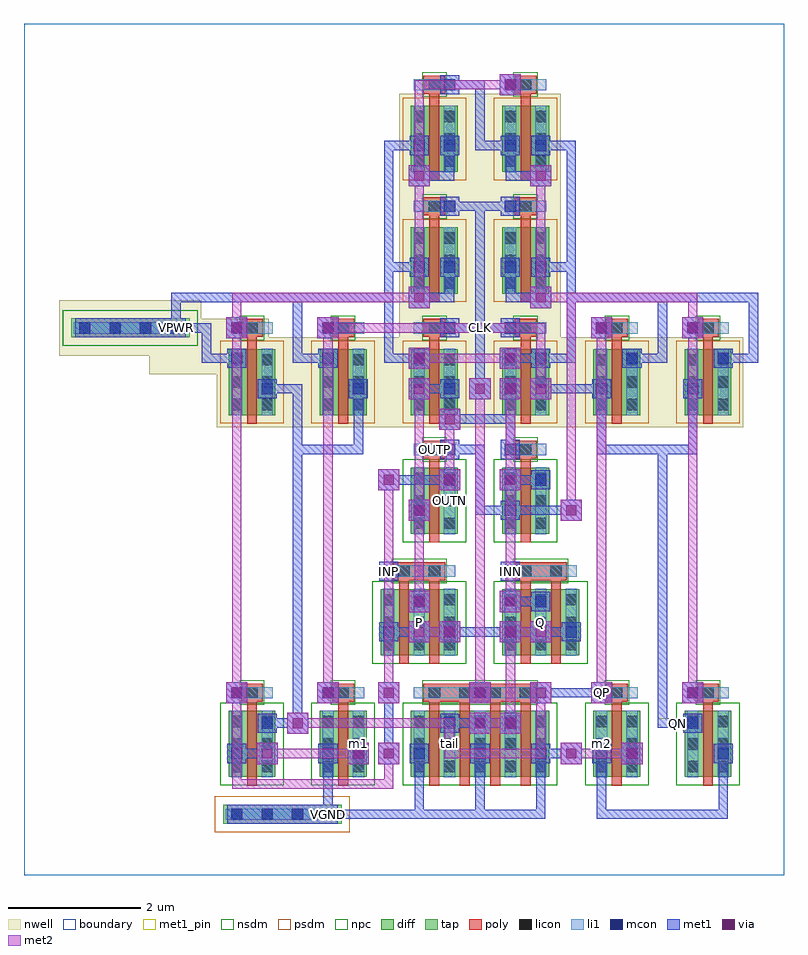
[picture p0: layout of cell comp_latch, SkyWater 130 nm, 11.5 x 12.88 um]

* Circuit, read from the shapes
.subckt comp_latch CLK INN INP OUTN OUTP P Q QN QP VGND VPWR m1 m2 tail
XM1 QP OUTN m1 VGND sky130_fd_pr__nfet_01v8 w=1 l=0.15
XM2 m1 QN VGND VGND sky130_fd_pr__nfet_01v8 w=1 l=0.15
XM3 P INP tail VGND sky130_fd_pr__nfet_01v8 w=1 l=0.15 m=2
XM4 tail CLK VGND VGND sky130_fd_pr__nfet_01v8 w=1 l=0.15 m=4
XM5 OUTN OUTP P VGND sky130_fd_pr__nfet_01v8 w=1 l=0.15
XM6 Q INN tail VGND sky130_fd_pr__nfet_01v8 w=1 l=0.15 m=2
XM7 Q OUTN OUTP VGND sky130_fd_pr__nfet_01v8 w=1 l=0.15
XM8 VGND QP m2 VGND sky130_fd_pr__nfet_01v8 w=1 l=0.15
XM9 m2 OUTP QN VGND sky130_fd_pr__nfet_01v8 w=1 l=0.15
XM10 QP OUTN VPWR VPWR sky130_fd_pr__pfet_01v8 w=1 l=0.15
XM11 QP QN VPWR VPWR sky130_fd_pr__pfet_01v8 w=1 l=0.15
XM12 P CLK VPWR VPWR sky130_fd_pr__pfet_01v8 w=1 l=0.15
XM13 OUTN CLK VPWR VPWR sky130_fd_pr__pfet_01v8 w=1 l=0.15
XM14 OUTN OUTP VPWR VPWR sky130_fd_pr__pfet_01v8 w=1 l=0.15
XM15 VPWR CLK Q VPWR sky130_fd_pr__pfet_01v8 w=1 l=0.15
XM16 VPWR CLK OUTP VPWR sky130_fd_pr__pfet_01v8 w=1 l=0.15
XM17 VPWR OUTN OUTP VPWR sky130_fd_pr__pfet_01v8 w=1 l=0.15
XM18 VPWR QP QN VPWR sky130_fd_pr__pfet_01v8 w=1 l=0.15
XM19 VPWR OUTP QN VPWR sky130_fd_pr__pfet_01v8 w=1 l=0.15
.ends

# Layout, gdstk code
import gdstk
lib = gdstk.Library(unit=1e-6, precision=1e-09)
def R(c, l, rs):  # rectangles x0, y0, x1, y1
    for r in rs: c.add(gdstk.rectangle(r[:2], r[2:], *l))
def A(c, l, x, y, w, h, nx, ny, dx, dy):  # array of equal rectangles
    R(c, l, [(x+i*dx, y+j*dy, x+i*dx+w, y+j*dy+h) for i in range(nx) for j in range(ny)])
nwell = (64, 20)
diff = (65, 20)
tap = (65, 44)
poly = (66, 20)
licon = (66, 44)
li1 = (67, 20)
mcon = (67, 44)
met1_pin = (68, 16)
met1 = (68, 20)
via = (68, 44)
met2 = (69, 20)
nsdm = (93, 44)
psdm = (94, 20)
npc = (95, 20)
boundary = (235, 4)

comp_latch = lib.new_cell('comp_latch')
R(comp_latch, nwell, [(2.915,6.78,10.885,7.58), (1.893,7.58,10.885,7.86), (0.535,7.86,10.885,8.14), (0.535,8.14,3.707,8.42), (5.675,8.14,8.125,11.82), (0.535,8.42,2.685,8.7)])
A(comp_latch, diff, 3.095, 6.96, 0.71, 1, 6, 1, 1.38, 0)
R(comp_latch, diff, [(3.095,1.485,3.805,2.485), (4.475,1.485,5.185,2.485), (5.855,1.485,7.945,2.485), (8.615,1.485,9.325,2.485), (9.995,1.485,10.705,2.485), (5.395,3.325,6.565,4.325), (7.235,3.325,8.405,4.325), (5.855,5.165,6.565,6.165), (7.235,5.165,7.945,6.165), (5.855,8.8,6.565,9.8), (7.235,8.8,7.945,9.8), (5.855,10.64,6.565,11.64), (7.235,10.64,7.945,11.64)])
R(comp_latch, tap, [(3.015,0.775,4.805,1.065), (0.715,8.135,2.505,8.425)])
A(comp_latch, poly, 3.375, 1.355, 0.15, 1.405, 3, 1, 1.38, 0)
A(comp_latch, poly, 6.595, 1.355, 0.15, 1.405, 3, 1, 0.46, 0)
A(comp_latch, poly, 3.375, 6.83, 0.15, 1.45, 6, 1, 1.38, 0)
A(comp_latch, poly, 3.285, 8.145, 0.33, 0.27, 6, 1, 1.38, 0)
R(comp_latch, poly, [(8.895,1.355,9.045,2.76), (10.275,1.355,10.425,2.76), (3.285,2.625,3.615,2.895), (4.665,2.625,4.995,2.895), (6.045,2.625,7.755,2.895), (8.805,2.625,9.135,2.895), (10.185,2.625,10.515,2.895), (5.675,3.195,5.825,4.6), (6.135,3.195,6.285,4.6), (7.515,3.195,7.665,4.6), (7.975,3.195,8.125,4.6), (5.585,4.465,6.375,4.735), (7.425,4.465,8.215,4.735), (6.135,5.035,6.285,6.44), (7.515,5.035,7.665,6.44), (6.045,6.305,6.375,6.575), (7.425,6.305,7.755,6.575), (6.135,8.67,6.285,10.12), (7.515,8.67,7.665,10.12), (6.045,9.985,6.375,10.255), (7.425,9.985,7.755,10.255), (6.135,10.51,6.285,11.96), (7.515,10.51,7.665,11.96), (6.045,11.825,6.375,12.095), (7.425,11.825,7.755,12.095)])
A(comp_latch, licon, 3.135, 0.835, 0.17, 0.17, 4, 1, 0.46, 0)
A(comp_latch, licon, 3.135, 1.56, 0.17, 0.17, 1, 3, 0, 0.34)
A(comp_latch, licon, 3.595, 1.56, 0.17, 0.17, 1, 3, 0, 0.34)
A(comp_latch, licon, 4.515, 1.56, 0.17, 0.17, 1, 3, 0, 0.34)
A(comp_latch, licon, 4.975, 1.56, 0.17, 0.17, 1, 3, 0, 0.34)
A(comp_latch, licon, 5.895, 1.56, 0.17, 0.17, 5, 3, 0.46, 0.34)
A(comp_latch, licon, 8.655, 1.56, 0.17, 0.17, 1, 3, 0, 0.34)
A(comp_latch, licon, 9.115, 1.56, 0.17, 0.17, 1, 3, 0, 0.34)
A(comp_latch, licon, 10.035, 1.56, 0.17, 0.17, 1, 3, 0, 0.34)
A(comp_latch, licon, 10.495, 1.56, 0.17, 0.17, 1, 3, 0, 0.34)
A(comp_latch, licon, 3.365, 2.675, 0.17, 0.17, 3, 1, 1.38, 0)
A(comp_latch, licon, 6.585, 2.675, 0.17, 0.17, 3, 1, 0.46, 0)
A(comp_latch, licon, 5.435, 3.4, 0.17, 0.17, 3, 3, 0.46, 0.34)
A(comp_latch, licon, 7.275, 3.4, 0.17, 0.17, 3, 3, 0.46, 0.34)
A(comp_latch, licon, 5.895, 5.24, 0.17, 0.17, 1, 3, 0, 0.34)
A(comp_latch, licon, 6.355, 5.24, 0.17, 0.17, 1, 3, 0, 0.34)
A(comp_latch, licon, 7.275, 5.24, 0.17, 0.17, 1, 3, 0, 0.34)
A(comp_latch, licon, 7.735, 5.24, 0.17, 0.17, 1, 3, 0, 0.34)
A(comp_latch, licon, 3.135, 7.035, 0.17, 0.17, 1, 3, 0, 0.34)
A(comp_latch, licon, 3.595, 7.035, 0.17, 0.17, 1, 3, 0, 0.34)
A(comp_latch, licon, 4.515, 7.035, 0.17, 0.17, 1, 3, 0, 0.34)
A(comp_latch, licon, 4.975, 7.035, 0.17, 0.17, 1, 3, 0, 0.34)
A(comp_latch, licon, 5.895, 7.035, 0.17, 0.17, 1, 3, 0, 0.34)
A(comp_latch, licon, 6.355, 7.035, 0.17, 0.17, 1, 3, 0, 0.34)
A(comp_latch, licon, 7.275, 7.035, 0.17, 0.17, 1, 3, 0, 0.34)
A(comp_latch, licon, 7.735, 7.035, 0.17, 0.17, 1, 3, 0, 0.34)
A(comp_latch, licon, 8.655, 7.035, 0.17, 0.17, 1, 3, 0, 0.34)
A(comp_latch, licon, 9.115, 7.035, 0.17, 0.17, 1, 3, 0, 0.34)
A(comp_latch, licon, 10.035, 7.035, 0.17, 0.17, 1, 3, 0, 0.34)
A(comp_latch, licon, 10.495, 7.035, 0.17, 0.17, 1, 3, 0, 0.34)
A(comp_latch, licon, 0.835, 8.195, 0.17, 0.17, 4, 1, 0.46, 0)
A(comp_latch, licon, 3.365, 8.195, 0.17, 0.17, 6, 1, 1.38, 0)
A(comp_latch, licon, 5.895, 8.875, 0.17, 0.17, 1, 3, 0, 0.34)
A(comp_latch, licon, 6.355, 8.875, 0.17, 0.17, 1, 3, 0, 0.34)
A(comp_latch, licon, 7.275, 8.875, 0.17, 0.17, 1, 3, 0, 0.34)
A(comp_latch, licon, 7.735, 8.875, 0.17, 0.17, 1, 3, 0, 0.34)
A(comp_latch, licon, 5.895, 10.715, 0.17, 0.17, 1, 3, 0, 0.34)
A(comp_latch, licon, 6.355, 10.715, 0.17, 0.17, 1, 3, 0, 0.34)
A(comp_latch, licon, 7.275, 10.715, 0.17, 0.17, 1, 3, 0, 0.34)
A(comp_latch, licon, 7.735, 10.715, 0.17, 0.17, 1, 3, 0, 0.34)
R(comp_latch, licon, [(8.885,2.675,9.055,2.845), (10.265,2.675,10.435,2.845), (5.665,4.515,5.835,4.685), (6.125,4.515,6.295,4.685), (7.505,4.515,7.675,4.685), (7.965,4.515,8.135,4.685), (6.125,6.355,6.295,6.525), (7.505,6.355,7.675,6.525), (6.125,10.035,6.295,10.205), (7.505,10.035,7.675,10.205), (6.125,11.875,6.295,12.045), (7.505,11.875,7.675,12.045)])
A(comp_latch, li1, 5.895, 1.48, 0.17, 1.01, 5, 1, 0.46, 0)
A(comp_latch, li1, 5.435, 3.32, 0.17, 1.01, 3, 1, 0.46, 0)
A(comp_latch, li1, 7.275, 3.32, 0.17, 1.01, 3, 1, 0.46, 0)
A(comp_latch, li1, 5.895, 6.955, 0.17, 1.01, 1, 3, 0, 1.84)
A(comp_latch, li1, 6.355, 6.955, 0.17, 1.01, 1, 3, 0, 1.84)
A(comp_latch, li1, 7.275, 6.955, 0.17, 1.01, 1, 3, 0, 1.84)
A(comp_latch, li1, 7.735, 6.955, 0.17, 1.01, 1, 3, 0, 1.84)
A(comp_latch, li1, 3.135, 8.195, 0.63, 0.17, 6, 1, 1.38, 0)
R(comp_latch, li1, [(3.055,0.835,4.765,1.005), (3.135,1.48,3.305,2.49), (3.595,1.48,3.765,2.49), (4.515,1.48,4.685,2.49), (4.975,1.48,5.145,2.49), (8.655,1.48,8.825,2.49), (9.115,1.48,9.285,2.49), (10.035,1.48,10.205,2.49), (10.495,1.48,10.665,2.49), (3.135,2.675,3.765,2.845), (4.515,2.675,5.145,2.845), (5.895,2.675,7.905,2.845), (8.655,2.675,9.285,2.845), (10.035,2.675,10.665,2.845), (5.435,4.515,6.525,4.685), (7.275,4.515,8.365,4.685), (5.895,5.16,6.065,6.17), (6.355,5.16,6.525,6.17), (7.275,5.16,7.445,6.17), (7.735,5.16,7.905,6.17), (5.895,6.355,6.525,6.525), (7.275,6.355,7.905,6.525), (3.135,6.955,3.305,7.965), (3.595,6.955,3.765,7.965), (4.515,6.955,4.685,7.965), (4.975,6.955,5.145,7.965), (8.655,6.955,8.825,7.965), (9.115,6.955,9.285,7.965), (10.035,6.955,10.205,7.965), (10.495,6.955,10.665,7.965), (0.755,8.195,2.465,8.365), (5.895,10.035,6.525,10.205), (7.275,10.035,7.905,10.205), (5.895,11.875,6.525,12.045), (7.275,11.875,7.905,12.045)])
A(comp_latch, mcon, 3.135, 0.835, 0.17, 0.17, 4, 1, 0.46, 0)
A(comp_latch, mcon, 4.975, 1.755, 0.17, 0.17, 5, 1, 0.92, 0)
A(comp_latch, mcon, 5.435, 3.595, 0.17, 0.17, 4, 1, 0.92, 0)
A(comp_latch, mcon, 7.275, 4.515, 0.17, 0.17, 1, 3, 0, 0.92)
A(comp_latch, mcon, 3.595, 7.275, 0.17, 0.17, 3, 1, 1.38, 0)
A(comp_latch, mcon, 7.275, 7.275, 0.17, 0.17, 3, 2, 1.38, 0.92)
A(comp_latch, mcon, 3.135, 7.735, 0.17, 0.17, 3, 1, 1.38, 0)
A(comp_latch, mcon, 7.735, 7.735, 0.17, 0.17, 3, 1, 1.38, 0)
A(comp_latch, mcon, 0.835, 8.195, 0.17, 0.17, 4, 1, 0.46, 0)
A(comp_latch, mcon, 6.355, 8.195, 0.17, 0.17, 1, 5, 0, 0.92)
A(comp_latch, mcon, 7.275, 9.115, 0.17, 0.17, 1, 4, 0, 0.92)
R(comp_latch, mcon, [(3.135,1.755,3.305,1.925), (4.515,1.755,4.685,1.925), (9.115,1.755,9.285,1.925), (10.495,1.755,10.665,1.925), (3.595,2.215,3.765,2.385), (6.355,2.215,6.525,2.385), (7.275,2.215,7.445,2.385), (10.035,2.215,10.205,2.385), (3.135,2.675,3.305,2.845), (4.515,2.675,4.685,2.845), (6.815,2.675,6.985,2.845), (8.655,2.675,8.825,2.845), (10.035,2.675,10.205,2.845), (5.895,4.055,6.065,4.225), (7.735,4.055,7.905,4.225), (5.435,4.515,5.605,4.685), (5.895,5.435,6.065,5.605), (6.355,5.895,6.525,6.065), (7.735,5.895,7.905,6.065), (6.355,6.355,6.525,6.525), (3.135,8.195,3.305,8.365), (4.515,8.195,4.685,8.365), (5.895,9.115,6.065,9.285), (7.735,9.115,7.905,9.285), (5.895,10.955,6.065,11.125), (7.735,10.955,7.905,11.125)])
R(comp_latch, met1_pin, [(4.53,0.85,4.67,0.99), (9.59,2.23,10.19,2.37), (8.58,2.6,8.9,2.92), (5.375,4.455,5.665,4.745), (7.215,4.455,7.505,4.745), (2.23,8.21,2.37,8.35), (6.37,8.21,7.43,8.35)])
A(comp_latch, met1, 5.91, 0.85, 0.14, 1.06, 4, 1, 0.92, 0)
A(comp_latch, met1, 4.915, 1.695, 0.29, 0.29, 5, 1, 0.92, 0)
A(comp_latch, met1, 6.74, 2.6, 0.32, 0.32, 3, 1, 0.92, 0)
A(comp_latch, met1, 5.375, 3.535, 0.29, 0.29, 4, 1, 0.92, 0)
A(comp_latch, met1, 7.29, 4.07, 0.6, 0.14, 1, 3, 0, 1.84)
A(comp_latch, met1, 7.215, 4.455, 0.29, 0.29, 1, 3, 0, 0.92)
A(comp_latch, met1, 5.36, 5.82, 0.32, 0.32, 3, 1, 0.92, 0)
A(comp_latch, met1, 6.74, 7.2, 0.32, 0.32, 3, 1, 0.46, 0)
A(comp_latch, met1, 3.535, 7.215, 0.29, 0.29, 3, 1, 1.38, 0)
A(comp_latch, met1, 7.215, 7.215, 0.29, 0.29, 3, 2, 1.38, 0.92)
A(comp_latch, met1, 3.075, 7.675, 0.29, 0.29, 3, 1, 1.38, 0)
A(comp_latch, met1, 7.675, 7.675, 0.29, 0.29, 3, 1, 1.38, 0)
A(comp_latch, met1, 2.69, 7.75, 0.6, 0.14, 3, 1, 1.38, 0)
A(comp_latch, met1, 7.75, 7.75, 0.6, 0.14, 3, 1, 1.38, 0)
A(comp_latch, met1, 6.295, 8.135, 0.29, 0.29, 1, 5, 0, 0.92)
A(comp_latch, met1, 7.215, 9.055, 0.29, 0.29, 1, 4, 0, 0.92)
R(comp_latch, met1, [(3.075,0.775,4.745,1.065), (4.53,0.85,4.67,1.91), (4.53,0.85,6.05,0.99), (4.53,0.85,4.67,0.99), (5.91,0.85,6.97,0.99), (6.83,0.85,7.89,0.99), (8.67,0.85,10.65,0.99), (10.51,0.85,10.65,1.91), (3.52,1.68,3.84,2), (4.9,1.68,5.22,2), (5.36,1.68,5.68,2), (8.12,1.68,8.44,2), (9.04,1.68,9.36,2), (3.075,1.695,3.365,1.985), (4.455,1.695,4.745,1.985), (9.055,1.695,9.345,1.985), (10.435,1.695,10.725,1.985), (3.15,1.77,3.75,1.91), (5.45,1.77,5.59,2.83), (7.75,1.77,8.35,1.91), (3.98,2.14,4.3,2.46), (6.74,2.14,7.06,2.46), (7.2,2.14,7.52,2.46), (3.535,2.155,3.825,2.445), (6.295,2.155,6.585,2.445), (7.215,2.155,7.505,2.445), (9.975,2.155,10.265,2.445), (3.61,2.23,4.21,2.37), (4.07,2.23,4.21,7.43), (6.37,2.23,6.97,2.37), (9.59,2.23,10.19,2.37), (9.59,2.23,9.73,6.51), (3.06,2.6,3.38,2.92), (4.44,2.6,4.76,2.92), (5.36,2.6,5.68,2.92), (9.96,2.6,10.28,2.92), (3.075,2.615,3.365,2.905), (4.455,2.615,4.745,2.905), (6.755,2.615,7.045,2.905), (8.595,2.615,8.885,2.905), (9.975,2.615,10.265,2.905), (7.75,2.69,8.81,2.83), (5.82,3.52,6.14,3.84), (6.28,3.52,6.6,3.84), (7.2,3.52,7.52,3.84), (7.66,3.52,7.98,3.84), (5.45,3.61,6.05,3.75), (6.37,3.61,7.43,3.75), (7.75,3.61,8.35,3.75), (5.82,3.98,6.14,4.3), (7.2,3.98,7.52,4.3), (5.835,3.995,6.125,4.285), (7.675,3.995,7.965,4.285), (5.375,4.455,5.665,4.745), (5.82,5.36,6.14,5.68), (8.12,5.36,8.44,5.68), (5.835,5.375,6.125,5.665), (6.83,5.45,7.43,5.59), (6.83,5.45,6.97,6.51), (7.29,5.45,8.35,5.59), (6.295,5.835,6.585,6.125), (7.675,5.835,7.965,6.125), (5.45,5.91,6.51,6.05), (6.295,6.295,6.585,6.585), (4.07,6.37,5.13,6.51), (4.99,6.37,5.13,7.43), (6.37,6.37,6.97,6.51), (7.29,6.37,7.43,6.97), (8.67,6.37,8.81,7.43), (8.67,6.37,10.19,6.51), (10.05,6.37,10.19,7.43), (6.28,6.74,6.6,7.06), (6.37,6.83,7.43,6.97), (5.82,7.2,6.14,7.52), (3.61,7.29,4.21,7.43), (5.91,7.29,6.51,7.43), (6.83,7.29,6.97,8.35), (7.75,7.29,8.81,7.43), (5.82,7.66,6.14,7.98), (7.2,7.66,7.52,7.98), (2.69,7.75,2.83,8.35), (4.07,7.75,4.21,8.81), (5.45,7.75,5.59,9.27), (8.21,7.75,8.35,9.27), (9.59,7.75,9.73,8.81), (10.97,7.75,11.11,8.81), (3.06,8.12,3.38,8.44), (4.44,8.12,4.76,8.44), (8.58,8.12,8.9,8.44), (9.96,8.12,10.28,8.44), (0.775,8.135,2.445,8.425), (3.075,8.135,3.365,8.425), (4.455,8.135,4.745,8.425), (2.23,8.21,2.83,8.35), (2.23,8.21,2.37,8.81), (2.23,8.21,2.37,8.35), (6.37,8.21,7.43,8.35), (6.83,8.21,6.97,10.19), (5.82,8.58,6.14,8.9), (7.66,8.58,7.98,8.9), (2.23,8.67,4.21,8.81), (4.07,8.67,5.59,8.81), (5.91,8.67,6.51,8.81), (6.37,8.67,6.51,9.27), (7.29,8.67,7.89,8.81), (7.29,8.67,7.43,9.27), (8.21,8.67,9.73,8.81), (9.59,8.67,11.11,8.81), (5.835,9.055,6.125,9.345), (7.675,9.055,7.965,9.345), (5.45,9.13,6.05,9.27), (5.45,9.13,5.59,11.11), (7.75,9.13,8.35,9.27), (8.21,9.13,8.35,11.11), (6.37,10.05,6.97,10.19), (6.83,10.05,7.43,10.19), (5.82,10.42,6.14,10.74), (7.66,10.42,7.98,10.74), (5.91,10.51,6.51,10.65), (6.37,10.51,6.51,11.11), (7.29,10.51,7.89,10.65), (7.29,10.51,7.43,11.11), (5.835,10.895,6.125,11.185), (7.675,10.895,7.965,11.185), (5.45,10.97,6.05,11.11), (6.83,10.97,7.43,11.11), (6.83,10.97,6.97,12.03), (7.75,10.97,8.35,11.11), (7.2,11.8,7.52,12.12), (6.37,11.89,6.97,12.03)])
A(comp_latch, via, 6.825, 2.685, 0.15, 0.15, 3, 1, 0.92, 0)
A(comp_latch, via, 5.445, 5.905, 0.15, 0.15, 3, 1, 0.92, 0)
A(comp_latch, via, 6.825, 7.285, 0.15, 0.15, 3, 1, 0.46, 0)
R(comp_latch, via, [(3.605,1.765,3.755,1.915), (4.985,1.765,5.135,1.915), (5.445,1.765,5.595,1.915), (8.205,1.765,8.355,1.915), (9.125,1.765,9.275,1.915), (4.065,2.225,4.215,2.375), (6.825,2.225,6.975,2.375), (7.285,2.225,7.435,2.375), (3.145,2.685,3.295,2.835), (4.525,2.685,4.675,2.835), (5.445,2.685,5.595,2.835), (10.045,2.685,10.195,2.835), (5.905,3.605,6.055,3.755), (6.365,3.605,6.515,3.755), (7.285,3.605,7.435,3.755), (7.745,3.605,7.895,3.755), (5.905,4.065,6.055,4.215), (7.285,4.065,7.435,4.215), (5.905,5.445,6.055,5.595), (8.205,5.445,8.355,5.595), (6.365,6.825,6.515,6.975), (5.905,7.285,6.055,7.435), (5.905,7.745,6.055,7.895), (7.285,7.745,7.435,7.895), (3.145,8.205,3.295,8.355), (4.525,8.205,4.675,8.355), (8.665,8.205,8.815,8.355), (10.045,8.205,10.195,8.355), (5.905,8.665,6.055,8.815), (7.745,8.665,7.895,8.815), (5.905,10.505,6.055,10.655), (7.745,10.505,7.895,10.655), (7.285,11.885,7.435,12.035)])
A(comp_latch, met2, 6.74, 2.6, 0.32, 0.32, 3, 1, 0.92, 0)
A(comp_latch, met2, 5.36, 5.82, 0.32, 0.32, 3, 1, 0.92, 0)
A(comp_latch, met2, 6.74, 7.2, 0.32, 0.32, 3, 1, 0.46, 0)
R(comp_latch, met2, [(3.15,1.31,3.29,2.83), (3.15,1.31,5.59,1.45), (5.45,1.31,5.59,1.91), (3.52,1.68,3.84,2), (4.9,1.68,5.22,2), (5.36,1.68,5.68,2), (8.12,1.68,8.44,2), (9.04,1.68,9.36,2), (3.61,1.77,5.13,1.91), (6.37,1.77,7.89,1.91), (6.37,1.77,6.51,2.37), (7.75,1.77,7.89,2.83), (8.21,1.77,9.27,1.91), (3.98,2.14,4.3,2.46), (6.74,2.14,7.06,2.46), (7.2,2.14,7.52,2.46), (4.07,2.23,6.51,2.37), (6.83,2.23,7.43,2.37), (7.29,2.23,7.43,3.75), (3.06,2.6,3.38,2.92), (4.44,2.6,4.76,2.92), (5.36,2.6,5.68,2.92), (9.96,2.6,10.28,2.92), (3.15,2.69,3.29,8.35), (4.53,2.69,4.67,8.35), (5.45,2.69,5.59,6.05), (6.83,2.69,6.97,7.43), (8.67,2.69,8.81,8.35), (10.05,2.69,10.19,8.35), (5.82,3.52,6.14,3.84), (6.28,3.52,6.6,3.84), (7.2,3.52,7.52,3.84), (7.66,3.52,7.98,3.84), (5.91,3.61,6.51,3.75), (7.29,3.61,7.89,3.75), (5.82,3.98,6.14,4.3), (7.2,3.98,7.52,4.3), (5.91,4.07,6.05,5.59), (7.29,4.07,7.43,6.05), (5.82,5.36,6.14,5.68), (8.12,5.36,8.44,5.68), (5.91,5.45,6.05,7.43), (8.21,5.45,8.35,8.81), (6.37,5.91,6.51,6.97), (7.29,5.91,7.43,7.43), (6.28,6.74,6.6,7.06), (5.82,7.2,6.14,7.52), (7.75,7.29,7.89,8.35), (5.82,7.66,6.14,7.98), (7.2,7.66,7.52,7.98), (5.91,7.75,7.43,7.89), (3.06,8.12,3.38,8.44), (4.44,8.12,4.76,8.44), (8.58,8.12,8.9,8.44), (9.96,8.12,10.28,8.44), (3.15,8.21,3.29,8.81), (4.53,8.21,7.89,8.35), (10.05,8.21,10.19,8.81), (5.82,8.58,6.14,8.9), (7.66,8.58,7.98,8.9), (3.15,8.67,6.05,8.81), (5.91,8.67,6.05,10.65), (7.75,8.67,7.89,10.65), (7.75,8.67,8.35,8.81), (8.21,8.67,10.19,8.81), (5.82,10.42,6.14,10.74), (7.66,10.42,7.98,10.74), (5.91,10.51,6.05,12.03), (7.2,11.8,7.52,12.12), (5.91,11.89,7.43,12.03)])
R(comp_latch, nsdm, [(2.97,1.36,3.93,2.61), (4.35,1.36,5.31,2.61), (5.73,1.36,8.07,2.61), (8.49,1.36,9.45,2.61), (9.87,1.36,10.83,2.61), (5.27,3.2,6.69,4.45), (7.11,3.2,8.53,4.45), (5.73,5.04,6.69,6.29), (7.11,5.04,8.07,6.29), (0.59,8.01,2.63,8.55)])
A(comp_latch, psdm, 2.97, 6.835, 0.96, 1.25, 6, 1, 1.38, 0)
R(comp_latch, psdm, [(2.89,0.65,4.93,1.19), (5.73,8.675,6.69,9.925), (7.11,8.675,8.07,9.925), (5.73,10.515,6.69,11.765), (7.11,10.515,8.07,11.765)])
A(comp_latch, npc, 3.265, 8.095, 0.37, 0.37, 6, 1, 1.38, 0)
R(comp_latch, npc, [(3.265,2.575,3.635,2.945), (4.645,2.575,5.015,2.945), (6.025,2.575,7.775,2.945), (8.785,2.575,9.155,2.945), (10.165,2.575,10.535,2.945), (5.565,4.415,6.395,4.785), (7.405,4.415,8.235,4.785), (6.025,6.255,6.395,6.625), (7.405,6.255,7.775,6.625), (6.025,9.935,6.395,10.305), (7.405,9.935,7.775,10.305), (6.025,11.775,6.395,12.145), (7.405,11.775,7.775,12.145)])
R(comp_latch, boundary, [(0,0,11.5,12.88)])
comp_latch.add(gdstk.Label('tail', (6.44,1.985), layer=67, texttype=5))
comp_latch.add(gdstk.Label('P', (5.98,3.825), layer=67, texttype=5))
comp_latch.add(gdstk.Label('Q', (7.82,3.825), layer=67, texttype=5))
comp_latch.add(gdstk.Label('OUTP', (6.21,6.44), layer=67, texttype=5))
comp_latch.add(gdstk.Label('OUTN', (6.44,5.665), layer=67, texttype=5))
comp_latch.add(gdstk.Label('m1', (5.06,1.985), layer=67, texttype=5))
comp_latch.add(gdstk.Label('m2', (8.74,1.985), layer=67, texttype=5))
comp_latch.add(gdstk.Label('CLK', (6.9,8.28), layer=68, texttype=5))
comp_latch.add(gdstk.Label('INP', (5.52,4.6), layer=68, texttype=5))
comp_latch.add(gdstk.Label('INN', (7.36,4.6), layer=68, texttype=5))
comp_latch.add(gdstk.Label('QP', (8.74,2.76), layer=68, texttype=5))
comp_latch.add(gdstk.Label('QN', (9.89,2.3), layer=68, texttype=5))
comp_latch.add(gdstk.Label('VPWR', (2.3,8.28), layer=68, texttype=5))
comp_latch.add(gdstk.Label('VGND', (4.6,0.92), layer=68, texttype=5))
comp_latch.add(gdstk.Label('CLK', (6.9,8.28), layer=68, texttype=16))
comp_latch.add(gdstk.Label('INP', (5.52,4.6), layer=68, texttype=16))
comp_latch.add(gdstk.Label('INN', (7.36,4.6), layer=68, texttype=16))
comp_latch.add(gdstk.Label('QP', (8.74,2.76), layer=68, texttype=16))
comp_latch.add(gdstk.Label('QN', (9.89,2.3), layer=68, texttype=16))
comp_latch.add(gdstk.Label('VPWR', (2.3,8.28), layer=68, texttype=16))
comp_latch.add(gdstk.Label('VGND', (4.6,0.92), layer=68, texttype=16))

lib.write_gds('comp_latch.gds')
